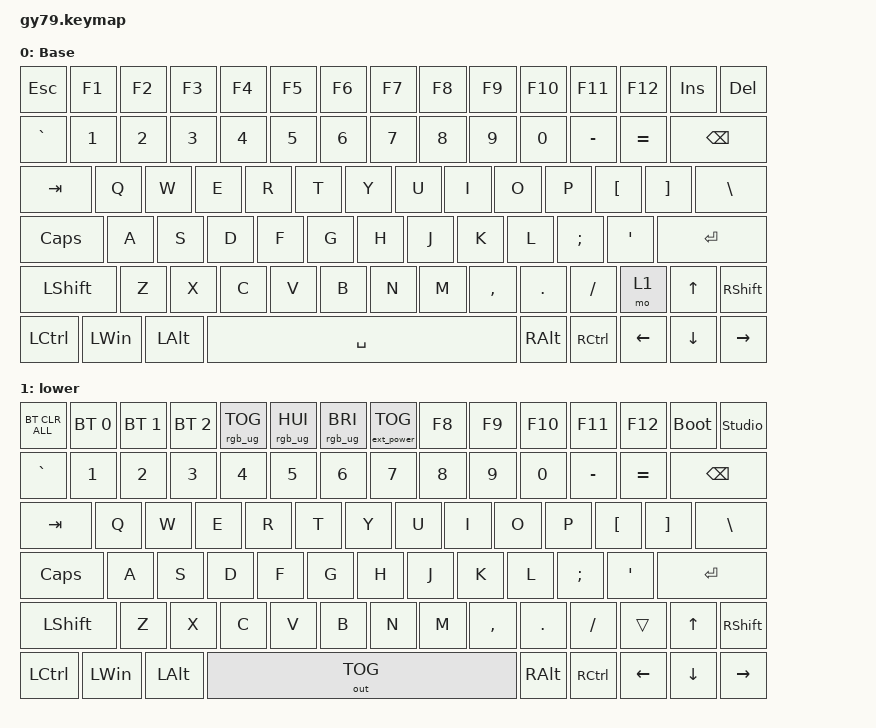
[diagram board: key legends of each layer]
/*
 * Copyright (c) 2022 The ZMK Contributors
 *
 * SPDX-License-Identifier: MIT
 */

#include <behaviors.dtsi>
#include <dt-bindings/zmk/keys.h>
#include <dt-bindings/zmk/bt.h>
#include <dt-bindings/zmk/outputs.h>
#include <dt-bindings/zmk/rgb.h>
#include <dt-bindings/zmk/ext_power.h>

/ {
    keymap {
        compatible = "zmk,keymap";

         default_layer {
            // ----------------------------------------------------------------------------------------------------------
            //   | ESC   |  F1 |  F2 |  F3 |  F4 |  F5 |  F6 |  F7 |  F8 |  F9 | F10 |  F11 |  F12 |  INS   | 
            //   |  ~ |  1   |  2   |  3   |  4   |  5   |   6   |  7    |  8   |  9   |   0   | -  | =  | BSPC  |
            //   | TAB | Q   |  W |  E |  R  |  T  |  Y  |  U  |  I  |  O  |  P  |  [  |  ]  |   "|"  | 
            //   | CAPS  |  A  |  S  |  D  |  F  |  G  | H  |  J  |  K  |  L  |  ;  |  '  |     ENTER    |  DEL |
            //   |  SHIFT  |  Z  |  X  |  C  |  V  |  B  |  N |  M  |  ,  |  .  |  /  |   FN   |   UP   |  SHIFT   |
            //   |  CTL  |  win  |  ALT  |            SPACE          |  ALT  |  CTL  |  LEFT  |  DOWN  | RIGHT  |
            // ------------------------------------------------------------------------------------------------------

            display-name = "Base";
            bindings = <
                &kp ESC    &kp F1 &kp F2    &kp F3   &kp F4   &kp F5  &kp F6  &kp F7  &kp F8  &kp F9  &kp F10  &kp F11    &kp F12   &kp INS  &kp DEL
                &kp GRAVE  &kp N1 &kp N2    &kp N3   &kp N4   &kp N5  &kp N6  &kp N7  &kp N8  &kp N9  &kp N0   &kp MINUS  &kp EQUAL &kp BSPC  
                &kp TAB    &kp Q  &kp W     &kp E    &kp R    &kp T   &kp Y  &kp U    &kp I   &kp O   &kp P    &kp LBKT   &kp RBKT  &kp BSLH
                &kp CAPS   &kp A  &kp S     &kp D    &kp F    &kp G   &kp H  &kp J    &kp K     &kp L   &kp SEMI  &kp SQT &kp ENTER 
                &kp LSHFT  &kp Z  &kp X     &kp C    &kp V    &kp B   &kp N  &kp M    &kp COMMA &kp DOT &kp FSLH  &mo 1   &kp UP    &kp RSHFT
                &kp LCTRL  &kp LWIN  &kp LALT &kp SPACE       &kp RALT &kp RCTRL   &kp LEFT &kp DOWN  &kp RIGHT 
            >;
        };

        lower{
            // ----------------------------------------------------------------------------------------------------------
            //   |BT_CLR   |  BT1 |  BT2 |  BT3 |  F4 |  F5 |  F6 |  F7 |  F8 |  F9 | F10 |  F11 |  F12 |  BOOT   | 
            //   |  ~ |  1   |  2   |  3   |  4   |  5   |   6   |  7    |  8   |  9   |   0   | -  | =  | BSPC  |
            //   | TAB | Q   |  W |  E |  R  |  T  |  Y  |  U  |  I  |  O  |  P  |  [  |  ]  |   "|"  | 
            //   | CAPS  |  A  |  S  |  D  |  F  |  G  | H  |  J  |  K  |  L  |  ;  |  '  |     ENTER    |  DEL |
            //   |  SHIFT  |  Z  |  X  |  C  |  V  |  B  |  N |  M  |  ,  |  .  |  /  |   FN   |   UP   |  SHIFT   |
            //   |  CTL  |  win  |  ALT  |            trans USB/BT          |  ALT  |  CTL  |  LEFT  |  DOWN  | RIGHT  |
            // ------------------------------------------------------------------------------------------------------

            display-name = "lower"; 
            bindings = <

                &bt BT_CLR_ALL  &bt BT_SEL 0 &bt BT_SEL 1 &bt BT_SEL 2 &rgb_ug RGB_TOG  &rgb_ug RGB_HUI &rgb_ug RGB_BRI &ext_power EP_TOG  &kp F8  &kp F9  &kp F10  &kp F11    &kp F12   &bootloader &studio_unlock
                &kp GRAVE  &kp N1 &kp N2    &kp N3   &kp N4   &kp N5  &kp N6  &kp N7  &kp N8  &kp N9  &kp N0   &kp MINUS  &kp EQUAL &kp BSPC  
                &kp TAB    &kp Q  &kp W     &kp E    &kp R    &kp T   &kp Y  &kp U    &kp I   &kp O   &kp P    &kp LBKT   &kp RBKT  &kp BSLH
                &kp CAPS   &kp A  &kp S     &kp D    &kp F    &kp G   &kp H  &kp J    &kp K     &kp L   &kp SEMI  &kp SQT &kp ENTER 
                &kp LSHFT  &kp Z  &kp X     &kp C    &kp V    &kp B   &kp N  &kp M    &kp COMMA &kp DOT &kp FSLH  &trans   &kp UP    &kp RSHFT
                &kp LCTRL  &kp LWIN  &kp LALT    &out OUT_TOG        &kp RALT &kp RCTRL   &kp LEFT &kp DOWN  &kp RIGHT 

			>;	
		};

        extra1 {
            status = "reserved";
        };
        extra2 {
            status = "reserved";
        };
        extra3 {
            status = "reserved";
        };
        extra4 {
            status = "reserved";
        };
    };
};
